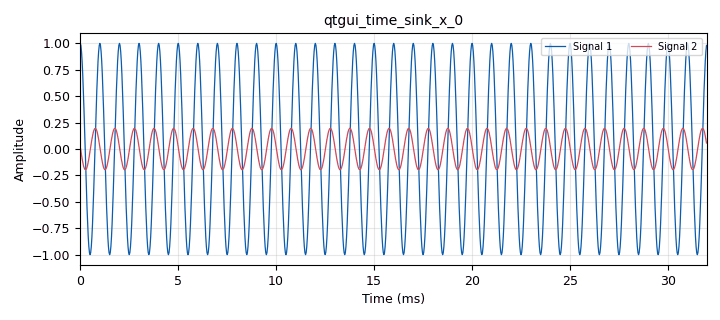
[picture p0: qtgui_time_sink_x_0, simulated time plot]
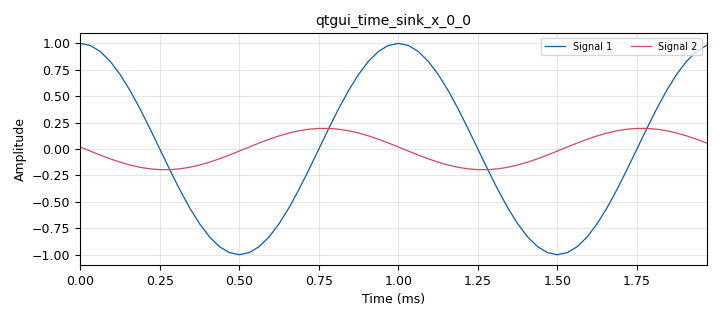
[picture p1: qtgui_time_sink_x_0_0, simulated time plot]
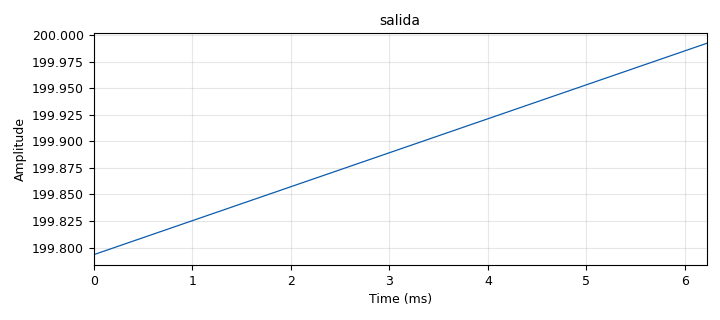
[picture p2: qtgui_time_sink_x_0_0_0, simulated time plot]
options:
  parameters:
    generate_options: qt_gui
    id: DIFERENCIADOR
    output_language: python
    title: Not titled yet
  states: {}

blocks:
- name: samp_rate
  id: variable
  parameters:
    value: '32000'
  states: {}
- name: samp_rate_0
  id: variable
  parameters:
    value: '1000'
  states: {}
- name: analog_sig_source_x_0
  id: analog_sig_source_x
  parameters:
    amp: '1'
    freq: '1000'
    offset: '0'
    phase: '0'
    samp_rate: samp_rate
    type: float
    waveform: analog.GR_COS_WAVE
  states: {}
- name: analog_sig_source_x_0_0
  id: analog_sig_source_x
  parameters:
    amp: '1'
    freq: '1000'
    offset: '0'
    phase: '0'
    samp_rate: samp_rate
    type: float
    waveform: analog.GR_COS_WAVE
  states: {}
- name: blocks_throttle2_0
  id: blocks_throttle2
  parameters:
    samples_per_second: samp_rate
    type: float
  states: {}
- name: blocks_throttle2_0_0
  id: blocks_throttle2
  parameters:
    samples_per_second: samp_rate
    type: float
  states: {}
- name: blocks_throttle2_0_1
  id: blocks_throttle2
  parameters:
    samples_per_second: samp_rate
    type: float
  states: {}
- name: blocks_vector_source_x_0_1
  id: blocks_vector_source_x
  parameters:
    repeat: 'True'
    type: float
    vector: (0.001, 0.001,0.001, 0.001,)
  states: {}
- name: epy_block_0
  id: epy_block
  parameters:
    _source_code: |-
      import numpy as np
      from gnuradio import gr

      class blk(gr.sync_block):

          def __init__(self):  
              gr.sync_block.__init__(
                  self,
                  name='e_Diff',   
                  in_sig=[np.float32],
                  out_sig=[np.float32]
              ) # <-- El paréntesis de cierre va aquí

              # Memoria para guardar la última muestra del bloque de datos anterior
              self.muestra_anterior = 0.0

          def work(self, input_items, output_items):
              x = input_items[0]   # Señal de entrada
              y0 = output_items[0] # Señal de salida diferencial
              
              if len(x) == 0:
                  return 0

              # Para derivar, insertamos la última muestra del paquete anterior al inicio
              x_completo = np.insert(x, 0, self.muestra_anterior)
              
              # np.diff calcula la diferencia entre elementos adyacentes: x[n] - x[n-1]
              y0[:] = np.diff(x_completo)
              
              # Guardamos la última muestra actual para usarla en el siguiente ciclo
              self.muestra_anterior = x[-1]
              
              return len(y0) # <-- Corregido: len(y0)
  states: {}
- name: epy_block_0_0
  id: epy_block
  parameters:
    _source_code: |-
      import numpy as np
      from gnuradio import gr

      class blk(gr.sync_block):

          def __init__(self):  
              gr.sync_block.__init__(
                  self,
                  name='e_Diff',   
                  in_sig=[np.float32],
                  out_sig=[np.float32]
              ) # <-- El paréntesis de cierre va aquí

              # Memoria para guardar la última muestra del bloque de datos anterior
              self.muestra_anterior = 0.0

          def work(self, input_items, output_items):
              x = input_items[0]   # Señal de entrada
              y0 = output_items[0] # Señal de salida diferencial
              
              if len(x) == 0:
                  return 0

              # Para derivar, insertamos la última muestra del paquete anterior al inicio
              x_completo = np.insert(x, 0, self.muestra_anterior)
              
              # np.diff calcula la diferencia entre elementos adyacentes: x[n] - x[n-1]
              y0[:] = np.diff(x_completo)
              
              # Guardamos la última muestra actual para usarla en el siguiente ciclo
              self.muestra_anterior = x[-1]
              
              return len(y0) # <-- Corregido: len(y0)
  states: {}
- name: epy_block_0_1
  id: epy_block
  parameters:
    _source_code: |-
      import numpy as np
      from gnuradio import gr

      class blk(gr.sync_block):

          def __init__(self):    # Doble guion bajo
              gr.sync_block.__init__(
                  self,
                  name='e_Acum',    
                  in_sig=[np.float32],
                  out_sig=[np.float32]
              )
              # Estado de memoria: guarda el último valor del bloque anterior
              self.valor_anterior = 0.0

          def work(self, input_items, output_items):
              x = input_items[0]    # Señal de entrada
              y0 = output_items[0]  # Señal de salida

              # Calculamos la suma acumulada y le sumamos el estado anterior
              y0[:] = self.valor_anterior + np.cumsum(x)
              
              # Guardamos el último valor de este bloque para usarlo en el siguiente
              if len(y0) > 0:
                  self.valor_anterior = y0[-1]

              return len(y0)  # Retornamos len(y0) en lugar de len(y)
  states: {}
- name: qtgui_time_sink_x_0
  id: qtgui_time_sink_x
  parameters:
    autoscale: 'True'
    nconnections: '2'
    size: '1024'
    srate: samp_rate
    type: float
  states: {}
- name: qtgui_time_sink_x_0_0
  id: qtgui_time_sink_x
  parameters:
    autoscale: 'True'
    nconnections: '2'
    size: '64'
    srate: samp_rate
    type: float
  states: {}
- name: qtgui_time_sink_x_0_0_0
  id: qtgui_time_sink_x
  parameters:
    autoscale: 'True'
    name: '"salida"'
    size: '200'
    srate: samp_rate
    type: float
  states: {}
- name: qtgui_time_sink_x_0_1
  id: qtgui_time_sink_x
  parameters:
    autoscale: 'True'
    size: '1024'
    srate: samp_rate
    type: float
  states: {}

connections:
- [analog_sig_source_x_0, '0', blocks_throttle2_0, '0']
- [analog_sig_source_x_0, '0', qtgui_time_sink_x_0, '0']
- [analog_sig_source_x_0_0, '0', blocks_throttle2_0_0, '0']
- [analog_sig_source_x_0_0, '0', qtgui_time_sink_x_0_0, '0']
- [blocks_throttle2_0, '0', epy_block_0, '0']
- [blocks_throttle2_0_0, '0', epy_block_0_0, '0']
- [blocks_throttle2_0_1, '0', epy_block_0_1, '0']
- [blocks_vector_source_x_0_1, '0', blocks_throttle2_0_1, '0']
- [blocks_vector_source_x_0_1, '0', qtgui_time_sink_x_0_1, '0']
- [epy_block_0, '0', qtgui_time_sink_x_0, '1']
- [epy_block_0_0, '0', qtgui_time_sink_x_0_0, '1']
- [epy_block_0_1, '0', qtgui_time_sink_x_0_0_0, '0']

metadata:
  file_format: 1
  grc_version: 3.10.12.0
